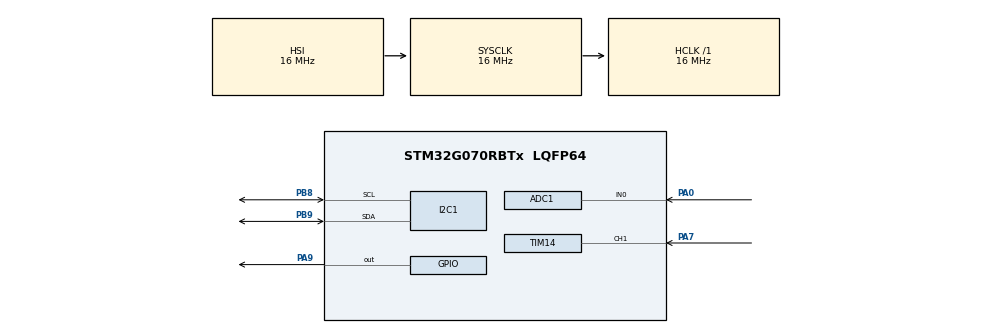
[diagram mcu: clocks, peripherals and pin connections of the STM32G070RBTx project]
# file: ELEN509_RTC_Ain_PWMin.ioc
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ADC1.Channel-0\#ChannelRegularConversion=ADC_CHANNEL_0
ADC1.NbrOfConversionFlag=1
ADC1.Rank-0\#ChannelRegularConversion=1
ADC1.SamplingTime-0\#ChannelRegularConversion=ADC_SAMPLINGTIME_COMMON_1
ADC1.SelectedChannel=ADC_CHANNEL_0
ADC1.master=1
Dma.ADC1.0.Direction=DMA_PERIPH_TO_MEMORY
Dma.ADC1.0.EventEnable=DISABLE
Dma.ADC1.0.Instance=DMA1_Channel1
Dma.ADC1.0.MemDataAlignment=DMA_MDATAALIGN_HALFWORD
Dma.ADC1.0.MemInc=DMA_MINC_ENABLE
Dma.ADC1.0.Mode=DMA_NORMAL
Dma.ADC1.0.PeriphDataAlignment=DMA_PDATAALIGN_HALFWORD
Dma.ADC1.0.PeriphInc=DMA_PINC_DISABLE
Dma.ADC1.0.Polarity=HAL_DMAMUX_REQ_GEN_RISING
Dma.ADC1.0.Priority=DMA_PRIORITY_MEDIUM
Dma.ADC1.0.RequestNumber=1
Dma.ADC1.0.SignalID=NONE
Dma.ADC1.0.SyncEnable=DISABLE
Dma.ADC1.0.SyncPolarity=HAL_DMAMUX_SYNC_NO_EVENT
Dma.ADC1.0.SyncRequestNumber=1
Dma.ADC1.0.SyncSignalID=NONE
Dma.Request0=ADC1
Mcu.Family=STM32G0
Mcu.Name=STM32G070RBTx
Mcu.Package=LQFP64
NVIC.DMA1_Channel1_IRQn=true\:0\:0\:false\:false\:true\:false\:true
NVIC.TIM14_IRQn=true\:0\:0\:false\:false\:true\:true\:true
NVIC.TIM6_IRQn=true\:0\:0\:false\:false\:true\:true\:true
PA0.Mode=IN0
PA0.Signal=ADC1_IN0
PA7.Signal=S_TIM14_CH1
PA9.Signal=GPIO_Output
PB8.Mode=I2C
PB8.Signal=I2C1_SCL
PB9.Mode=I2C
PB9.Signal=I2C1_SDA
ProjectManager.HeapSize=0x200
ProjectManager.StackSize=0x400
ProjectManager.TargetToolchain=EWARM V8.32
RCC.AHBFreq_Value=16000000
RCC.CortexFreq_Value=16000000
RCC.EXTERNAL_CLOCK_VALUE=48000
RCC.HCLKFreq_Value=16000000
RCC.HSE_VALUE=8000000
RCC.HSI_VALUE=16000000
RCC.LSE_VALUE=32768
RCC.SYSCLKFreq_VALUE=16000000
RCC.VCOOutputFreq_Value=128000000
SH.S_TIM14_CH1.0=TIM14_CH1,Input_Capture1_from_TI1
TIM14.Channel=TIM_CHANNEL_1
TIM14.Period=65535
TIM6.Period=1
TIM6.Prescaler=121
VP_SYS_VS_DBSignals.Mode=DisableDeadBatterySignals
VP_TIM14_VS_ClockSourceINT.Mode=Enable_Timer
VP_TIM6_VS_ClockSourceINT.Mode=Enable_Timer
board=custom

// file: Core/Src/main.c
/* USER CODE BEGIN Header */
/**
  ******************************************************************************
  * @file           : main.c
  * @brief          : Main program body
  ******************************************************************************
  * @attention
  *
  * <h2><center>&copy; Copyright (c) 2021 STMicroelectronics.
  * All rights reserved.</center></h2>
  *
  * This software component is licensed by ST under BSD 3-Clause license,
  * the "License"; You may not use this file except in compliance with the
  * License. You may obtain a copy of the License at:
  *                        opensource.org/licenses/BSD-3-Clause
  *
  ******************************************************************************
  */
/* USER CODE END Header */
#include "main.h"

/* USER CODE BEGIN Includes */
#include "project.h"

/* USER CODE END Includes */

/* USER CODE BEGIN PD */
#define RTC_DEV_ADDRESS 0xDE
/* USER CODE END PD */

ADC_HandleTypeDef hadc1;
DMA_HandleTypeDef hdma_adc1;

I2C_HandleTypeDef hi2c1;

TIM_HandleTypeDef htim6;
TIM_HandleTypeDef htim14;

/* USER CODE BEGIN PV */
// scheduler stuff
extern uint8_t ten_mS_Flag;
extern uint8_t twentyfive_mS_Flag;
extern uint8_t hundred_mS_Flag;
extern uint8_t one_S_Flag;

uint8_t rtcDataIn[0x20] = {0};
uint8_t rtcDataOut[0x20] = {0};
uint8_t ramDataIn[0x20] = {0};
uint8_t ramDataOut[0x20] = {0};
uint8_t readRAM = true;
uint8_t writeRAM = false;
uint8_t readRTC = false;
uint8_t writeRTC = false;
uint8_t startRTC = true;
uint8_t setSQWV = false;

uint8_t readContinuousRTC = true;

uint16_t pwmCapture = 0;
uint8_t savePwmCapture = false;

/* USER CODE END PV */

void SystemClock_Config(void);
static void MX_GPIO_Init(void);
static void MX_DMA_Init(void);
static void MX_I2C1_Init(void);
static void MX_TIM6_Init(void);
static void MX_TIM14_Init(void);
static void MX_ADC1_Init(void);

/* USER CODE BEGIN 0 */
uint32_t analogIn;
/* USER CODE END 0 */

int main(void)
{

  /* MCU Configuration--------------------------------------------------------*/

  /* Reset of all peripherals, Initializes the Flash interface and the Systick. */
  HAL_Init();

  /* Configure the system clock */
  SystemClock_Config();

  /* Initialize all configured peripherals */
  MX_GPIO_Init();
  MX_DMA_Init();
  MX_I2C1_Init();
  MX_TIM6_Init();
  MX_TIM14_Init();
  MX_ADC1_Init();
  /* USER CODE BEGIN 2 */
  HAL_TIM_Base_Start_IT(&htim6);
  HAL_TIM_IC_Start_IT(&htim14, TIM_CHANNEL_1);

  /* USER CODE END 2 */

  /* Infinite loop */
  /* USER CODE BEGIN WHILE */
  while (1)
  {
    //---------------------------------
    // 10mS Tasks
    if (ten_mS_Flag) {
      ten_mS_Flag = false;
      HAL_ADC_Start_DMA(&hadc1, &analogIn, 1);

    }  // end of 10mS Tasks
    //---------------------------------

    //---------------------------------
    // 25mS Tasks
    if (twentyfive_mS_Flag) {
      twentyfive_mS_Flag = false;

    }  // end of 25mS Tasks
    //---------------------------------

    //---------------------------------
    // 100mS Tasks
    if (hundred_mS_Flag) {
      hundred_mS_Flag = false;

    }  // end of 100mS Tasks
    //---------------------------------

    //---------------------------------
    // 1 Sec Tasks
    if (one_S_Flag) {
      one_S_Flag = false;

      if (readRAM == true) {
        readRAM = false;
        HAL_I2C_Mem_Read(&hi2c1, RTC_DEV_ADDRESS, 0x20, I2C_MEMADD_SIZE_8BIT, ramDataIn, 8, 1000);
      }

      if (writeRAM == true) {
        writeRAM = false;
        HAL_I2C_Mem_Write(&hi2c1, RTC_DEV_ADDRESS, 0x20, I2C_MEMADD_SIZE_8BIT, ramDataOut, 8, 1000);
      }

      if (readRTC == true) {
        readRTC = false;
        HAL_I2C_Mem_Read(&hi2c1, RTC_DEV_ADDRESS, 0x00, I2C_MEMADD_SIZE_8BIT, rtcDataIn, 8, 1000);
      }

      if (readContinuousRTC == true) {
        HAL_I2C_Mem_Read(&hi2c1, RTC_DEV_ADDRESS, 0x00, I2C_MEMADD_SIZE_8BIT, rtcDataIn, 8, 1000);
      }

      if (writeRTC == true) {
        writeRTC = false;
        HAL_I2C_Mem_Write(&hi2c1, RTC_DEV_ADDRESS, 0x00, I2C_MEMADD_SIZE_8BIT, rtcDataOut, 8, 1000);
      }

      if (startRTC == true) {
        startRTC = false;
        rtcDataOut[0] = 0x08;
        rtcDataOut[4] = 0x80;
        HAL_I2C_Mem_Write(&hi2c1, RTC_DEV_ADDRESS, 0x07, I2C_MEMADD_SIZE_8BIT, &rtcDataOut[0], 1, 1000); // place a 0x08 in the [0] location
        HAL_I2C_Mem_Write(&hi2c1, RTC_DEV_ADDRESS, 0x00, I2C_MEMADD_SIZE_8BIT, &rtcDataOut[4], 1, 1000); // place a 0x80 in the [4] location
      }

      if (setSQWV == true) {
        setSQWV = false;
        HAL_I2C_Mem_Write(&hi2c1, RTC_DEV_ADDRESS, 0x07, I2C_MEMADD_SIZE_8BIT, &rtcDataOut[2], 1, 1000); // place a 0x4C in the [2] location
      }

    } // end of 1Sec Tasks
    //---------------------------------

    //---------------------------------
    // Every time through the loop

    // end Every time through the loop
    //---------------------------------

    /* USER CODE END WHILE */

  }
}

void SystemClock_Config(void)
{
  RCC_OscInitTypeDef RCC_OscInitStruct = {0};
  RCC_ClkInitTypeDef RCC_ClkInitStruct = {0};
  RCC_PeriphCLKInitTypeDef PeriphClkInit = {0};

  /** Configure the main internal regulator output voltage
  */
  HAL_PWREx_ControlVoltageScaling(PWR_REGULATOR_VOLTAGE_SCALE1);
  /** Initializes the RCC Oscillators according to the specified parameters
  * in the RCC_OscInitTypeDef structure.
  */
  RCC_OscInitStruct.OscillatorType = RCC_OSCILLATORTYPE_HSI;
  RCC_OscInitStruct.HSIState = RCC_HSI_ON;
  RCC_OscInitStruct.HSIDiv = RCC_HSI_DIV1;
  RCC_OscInitStruct.HSICalibrationValue = RCC_HSICALIBRATION_DEFAULT;
  RCC_OscInitStruct.PLL.PLLState = RCC_PLL_NONE;
  if (HAL_RCC_OscConfig(&RCC_OscInitStruct) != HAL_OK)
  {
    Error_Handler();
  }
  /** Initializes the CPU, AHB and APB buses clocks
  */
  RCC_ClkInitStruct.ClockType = RCC_CLOCKTYPE_HCLK|RCC_CLOCKTYPE_SYSCLK
                              |RCC_CLOCKTYPE_PCLK1;
  RCC_ClkInitStruct.SYSCLKSource = RCC_SYSCLKSOURCE_HSI;
  RCC_ClkInitStruct.AHBCLKDivider = RCC_SYSCLK_DIV1;
  RCC_ClkInitStruct.APB1CLKDivider = RCC_HCLK_DIV1;

  if (HAL_RCC_ClockConfig(&RCC_ClkInitStruct, FLASH_LATENCY_0) != HAL_OK)
  {
    Error_Handler();
  }
  /** Initializes the peripherals clocks
  */
  PeriphClkInit.PeriphClockSelection = RCC_PERIPHCLK_I2C1|RCC_PERIPHCLK_ADC;
  PeriphClkInit.I2c1ClockSelection = RCC_I2C1CLKSOURCE_PCLK1;
  PeriphClkInit.AdcClockSelection = RCC_ADCCLKSOURCE_SYSCLK;
  if (HAL_RCCEx_PeriphCLKConfig(&PeriphClkInit) != HAL_OK)
  {
    Error_Handler();
  }
}

static void MX_ADC1_Init(void)
{

  ADC_ChannelConfTypeDef sConfig = {0};

  /** Configure the global features of the ADC (Clock, Resolution, Data Alignment and number of conversion)
  */
  hadc1.Instance = ADC1;
  hadc1.Init.ClockPrescaler = ADC_CLOCK_SYNC_PCLK_DIV2;
  hadc1.Init.Resolution = ADC_RESOLUTION_12B;
  hadc1.Init.DataAlign = ADC_DATAALIGN_RIGHT;
  hadc1.Init.ScanConvMode = ADC_SCAN_DISABLE;
  hadc1.Init.EOCSelection = ADC_EOC_SINGLE_CONV;
  hadc1.Init.LowPowerAutoWait = DISABLE;
  hadc1.Init.LowPowerAutoPowerOff = DISABLE;
  hadc1.Init.ContinuousConvMode = DISABLE;
  hadc1.Init.NbrOfConversion = 1;
  hadc1.Init.DiscontinuousConvMode = DISABLE;
  hadc1.Init.ExternalTrigConv = ADC_SOFTWARE_START;
  hadc1.Init.ExternalTrigConvEdge = ADC_EXTERNALTRIGCONVEDGE_NONE;
  hadc1.Init.DMAContinuousRequests = DISABLE;
  hadc1.Init.Overrun = ADC_OVR_DATA_PRESERVED;
  hadc1.Init.SamplingTimeCommon1 = ADC_SAMPLETIME_1CYCLE_5;
  hadc1.Init.SamplingTimeCommon2 = ADC_SAMPLETIME_1CYCLE_5;
  hadc1.Init.OversamplingMode = DISABLE;
  hadc1.Init.TriggerFrequencyMode = ADC_TRIGGER_FREQ_HIGH;
  if (HAL_ADC_Init(&hadc1) != HAL_OK)
  {
    Error_Handler();
  }
  /** Configure Regular Channel
  */
  sConfig.Channel = ADC_CHANNEL_0;
  sConfig.Rank = ADC_REGULAR_RANK_1;
  sConfig.SamplingTime = ADC_SAMPLINGTIME_COMMON_1;
  if (HAL_ADC_ConfigChannel(&hadc1, &sConfig) != HAL_OK)
  {
    Error_Handler();
  }

}

static void MX_I2C1_Init(void)
{

  hi2c1.Instance = I2C1;
  hi2c1.Init.Timing = 0x00303D5B;
  hi2c1.Init.OwnAddress1 = 0;
  hi2c1.Init.AddressingMode = I2C_ADDRESSINGMODE_7BIT;
  hi2c1.Init.DualAddressMode = I2C_DUALADDRESS_DISABLE;
  hi2c1.Init.OwnAddress2 = 0;
  hi2c1.Init.OwnAddress2Masks = I2C_OA2_NOMASK;
  hi2c1.Init.GeneralCallMode = I2C_GENERALCALL_DISABLE;
  hi2c1.Init.NoStretchMode = I2C_NOSTRETCH_DISABLE;
  if (HAL_I2C_Init(&hi2c1) != HAL_OK)
  {
    Error_Handler();
  }
  /** Configure Analogue filter
  */
  if (HAL_I2CEx_ConfigAnalogFilter(&hi2c1, I2C_ANALOGFILTER_ENABLE) != HAL_OK)
  {
    Error_Handler();
  }
  /** Configure Digital filter
  */
  if (HAL_I2CEx_ConfigDigitalFilter(&hi2c1, 0) != HAL_OK)
  {
    Error_Handler();
  }

}

static void MX_TIM6_Init(void)
{

  TIM_MasterConfigTypeDef sMasterConfig = {0};

  htim6.Instance = TIM6;
  htim6.Init.Prescaler = 121;
  htim6.Init.CounterMode = TIM_COUNTERMODE_UP;
  htim6.Init.Period = 1;
  htim6.Init.AutoReloadPreload = TIM_AUTORELOAD_PRELOAD_DISABLE;
  if (HAL_TIM_Base_Init(&htim6) != HAL_OK)
  {
    Error_Handler();
  }
  sMasterConfig.MasterOutputTrigger = TIM_TRGO_RESET;
  sMasterConfig.MasterSlaveMode = TIM_MASTERSLAVEMODE_DISABLE;
  if (HAL_TIMEx_MasterConfigSynchronization(&htim6, &sMasterConfig) != HAL_OK)
  {
    Error_Handler();
  }

}

static void MX_TIM14_Init(void)
{

  TIM_IC_InitTypeDef sConfigIC = {0};

  htim14.Instance = TIM14;
  htim14.Init.Prescaler = 0;
  htim14.Init.CounterMode = TIM_COUNTERMODE_UP;
  htim14.Init.Period = 65535;
  htim14.Init.ClockDivision = TIM_CLOCKDIVISION_DIV1;
  htim14.Init.AutoReloadPreload = TIM_AUTORELOAD_PRELOAD_DISABLE;
  if (HAL_TIM_Base_Init(&htim14) != HAL_OK)
  {
    Error_Handler();
  }
  if (HAL_TIM_IC_Init(&htim14) != HAL_OK)
  {
    Error_Handler();
  }
  sConfigIC.ICPolarity = TIM_INPUTCHANNELPOLARITY_RISING;
  sConfigIC.ICSelection = TIM_ICSELECTION_DIRECTTI;
  sConfigIC.ICPrescaler = TIM_ICPSC_DIV1;
  sConfigIC.ICFilter = 0;
  if (HAL_TIM_IC_ConfigChannel(&htim14, &sConfigIC, TIM_CHANNEL_1) != HAL_OK)
  {
    Error_Handler();
  }

}

static void MX_DMA_Init(void)
{

  /* DMA controller clock enable */
  __HAL_RCC_DMA1_CLK_ENABLE();

  /* DMA interrupt init */
  /* DMA1_Channel1_IRQn interrupt configuration */
  HAL_NVIC_SetPriority(DMA1_Channel1_IRQn, 0, 0);
  HAL_NVIC_EnableIRQ(DMA1_Channel1_IRQn);

}

static void MX_GPIO_Init(void)
{
  GPIO_InitTypeDef GPIO_InitStruct = {0};

  /* GPIO Ports Clock Enable */
  __HAL_RCC_GPIOA_CLK_ENABLE();
  __HAL_RCC_GPIOB_CLK_ENABLE();

  /*Configure GPIO pin Output Level */
  HAL_GPIO_WritePin(GPIOA, GPIO_PIN_9, GPIO_PIN_RESET);

  /*Configure GPIO pin : PA9 */
  GPIO_InitStruct.Pin = GPIO_PIN_9;
  GPIO_InitStruct.Mode = GPIO_MODE_OUTPUT_PP;
  GPIO_InitStruct.Pull = GPIO_NOPULL;
  GPIO_InitStruct.Speed = GPIO_SPEED_FREQ_LOW;
  HAL_GPIO_Init(GPIOA, &GPIO_InitStruct);

}

void Error_Handler(void)
{
}

/************************ (C) COPYRIGHT STMicroelectronics *****END OF FILE****/
